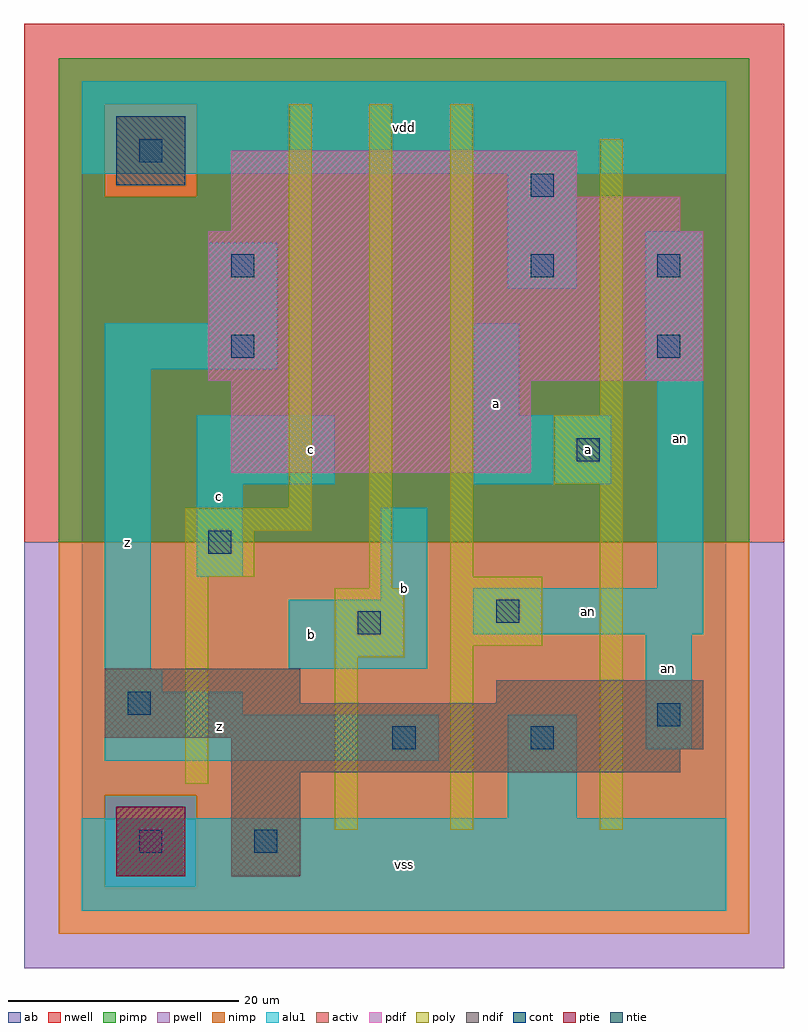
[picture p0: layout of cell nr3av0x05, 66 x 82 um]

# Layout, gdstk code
import gdstk
lib = gdstk.Library(unit=1e-6, precision=1e-09)
def R(c, l, rs):  # rectangles x0, y0, x1, y1
    for r in rs: c.add(gdstk.rectangle(r[:2], r[2:], *l))
ndif = (3, 0)
pdif = (4, 0)
ntie = (5, 0)
ptie = (6, 0)
cont = (25, 0)
pwell = (41, 0)
nwell = (42, 0)
activ = (43, 0)
pimp = (44, 0)
nimp = (45, 0)
poly = (46, 0)
alu1 = (49, 0)
ab = (63, 0)

nr3av0x05 = lib.new_cell('nr3av0x05')
R(nr3av0x05, ndif, [(13,3,19,12), (13,12,52,14), (13,14,54,15), (2,15,54,18), (2,18,19,21), (36,18,54,20)])
R(nr3av0x05, pdif, [(13,38,39,46), (11,46,54,59), (13,59,52,62), (13,62,43,66)])
R(nr3av0x05, ntie, [(3,63,9,69)])
R(nr3av0x05, ptie, [(3,3,9,9)])
R(nr3av0x05, cont, [(5,5,7,7), (15,5,17,7), (27,14,29,16), (39,14,41,16), (50,16,52,18), (4,17,6,19), (24,24,26,26), (36,25,38,27), (11,31,13,33), (43,39,45,41), (13,48,15,50), (50,48,52,50), (13,55,15,57), (39,55,41,57), (50,55,52,57), (39,62,41,64), (5,65,7,67)])
R(nr3av0x05, pwell, [(-5,-5,61,32)])
R(nr3av0x05, nwell, [(-5,32,61,77)])
R(nr3av0x05, activ, [(3,3,9,9), (13,3,19,12), (13,12,52,14), (13,14,54,15), (2,15,54,18), (2,18,19,21), (36,18,54,20), (13,38,39,46), (11,46,54,59), (13,59,52,62), (13,62,43,66), (3,63,9,69)])
R(nr3av0x05, pimp, [(2,2,10,10), (-2,32,58,62), (-2,62,2,70), (10,62,58,70), (-2,70,58,74)])
R(nr3av0x05, nimp, [(-2,-2,58,2), (-2,2,2,10), (10,2,58,10), (-2,10,58,32), (2,62,10,70)])
R(nr3av0x05, poly, [(22,7,24,22), (32,7,34,23), (45,7,47,37), (9,11,11,29), (22,22,28,28), (32,23,40,29), (25,28,27,70), (9,29,15,33), (32,29,34,70), (9,33,20,35), (18,35,20,70), (41,37,47,43), (45,43,47,67)])
R(nr3av0x05, alu1, [(0,0,56,8), (37,8,43,17), (2,13,31,17), (49,14,53,24), (2,17,14,19), (2,19,7,21), (2,21,6,47), (18,21,30,27), (34,24,54,28), (26,27,30,35), (50,28,54,46), (10,29,14,37), (10,37,22,43), (34,37,46,43), (34,43,38,51), (49,46,54,59), (2,47,17,51), (11,51,17,58), (37,54,43,64), (0,64,56,72)])
R(nr3av0x05, ab, [(0,0,56,72)])
nr3av0x05.add(gdstk.Label('an', (51,21), layer=49, texttype=0))
nr3av0x05.add(gdstk.Label('an', (44,26), layer=49, texttype=0))
nr3av0x05.add(gdstk.Label('an', (52,41), layer=49, texttype=0))
nr3av0x05.add(gdstk.Label('z', (4,32), layer=49, texttype=0))
nr3av0x05.add(gdstk.Label('z', (12,16), layer=49, texttype=0))
nr3av0x05.add(gdstk.Label('b', (20,24), layer=49, texttype=0))
nr3av0x05.add(gdstk.Label('c', (20,40), layer=49, texttype=0))
nr3av0x05.add(gdstk.Label('c', (12,36), layer=49, texttype=0))
nr3av0x05.add(gdstk.Label('vss', (28,4), layer=49, texttype=0))
nr3av0x05.add(gdstk.Label('b', (28,28), layer=49, texttype=0))
nr3av0x05.add(gdstk.Label('a', (36,44), layer=49, texttype=0))
nr3av0x05.add(gdstk.Label('vdd', (28,68), layer=49, texttype=0))
nr3av0x05.add(gdstk.Label('a', (44,40), layer=49, texttype=0))

lib.write_gds('nr3av0x05.gds')
